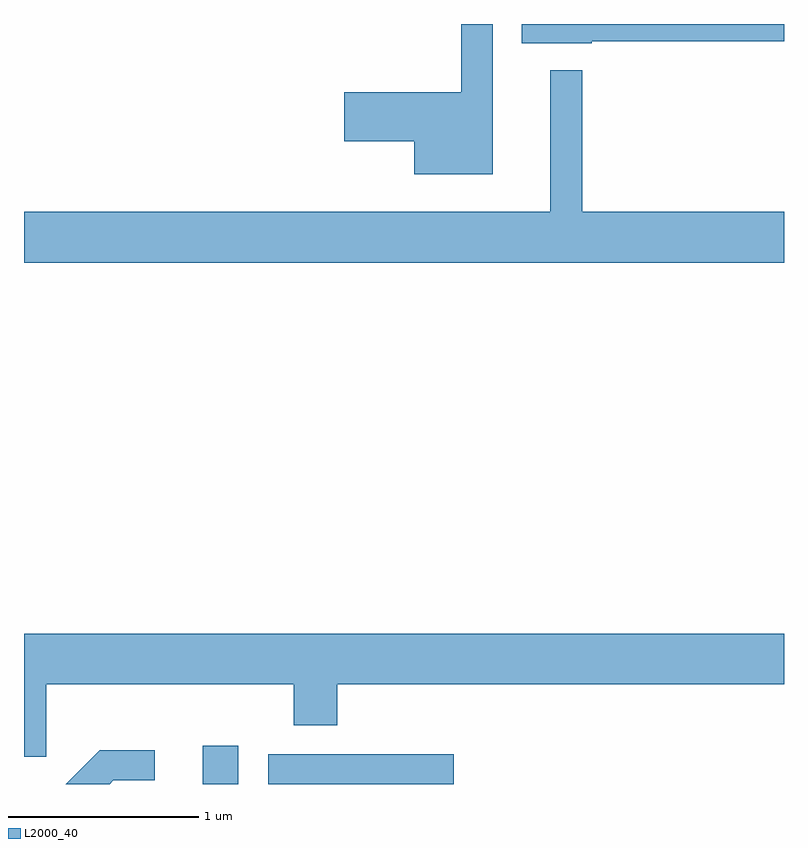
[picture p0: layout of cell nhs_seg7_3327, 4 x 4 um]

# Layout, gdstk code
import gdstk
lib = gdstk.Library(unit=1e-6, precision=1e-09)
def R(c, l, rs):  # rectangles x0, y0, x1, y1
    for r in rs: c.add(gdstk.rectangle(r[:2], r[2:], *l))
def P(c, l, *ps):  # polygons
    for p in ps: c.add(gdstk.Polygon(p, *l))
L2000_40 = (2000, 40)

nhs_seg7_3327 = lib.new_cell('nhs_seg7_3327')
R(nhs_seg7_3327, L2000_40, [(288.551,1698.252,288.739,1698.454), (288.896,1698.252,289.874,1698.409)])
P(nhs_seg7_3327, L2000_40, [(290.079,1702.252),(289.911,1702.252),(289.911,1701.894),(289.296,1701.894),(289.296,1701.636),(289.666,1701.636),(289.666,1701.461),(290.079,1701.461)],
  [(290.6,1702.161),(291.611,1702.161),(291.611,1702.252),(290.231,1702.252),(290.231,1702.151),(290.6,1702.151)],
  [(291.611,1701.264),(290.549,1701.264),(290.549,1702.008),(290.381,1702.008),(290.381,1701.264),(287.611,1701.264),(287.611,1700.996),(291.611,1700.996)],
  [(287.729,1698.776),(289.031,1698.776),(289.031,1698.561),(289.259,1698.561),(289.259,1698.776),(291.611,1698.776),(291.611,1699.044),(287.611,1699.044),(287.611,1698.396),(287.729,1698.396)],
  [(288.082,1698.271),(288.298,1698.271),(288.298,1698.429),(288.009,1698.429),(287.832,1698.252),(288.063,1698.252)])

lib.write_gds('nhs_seg7_3327.gds')
